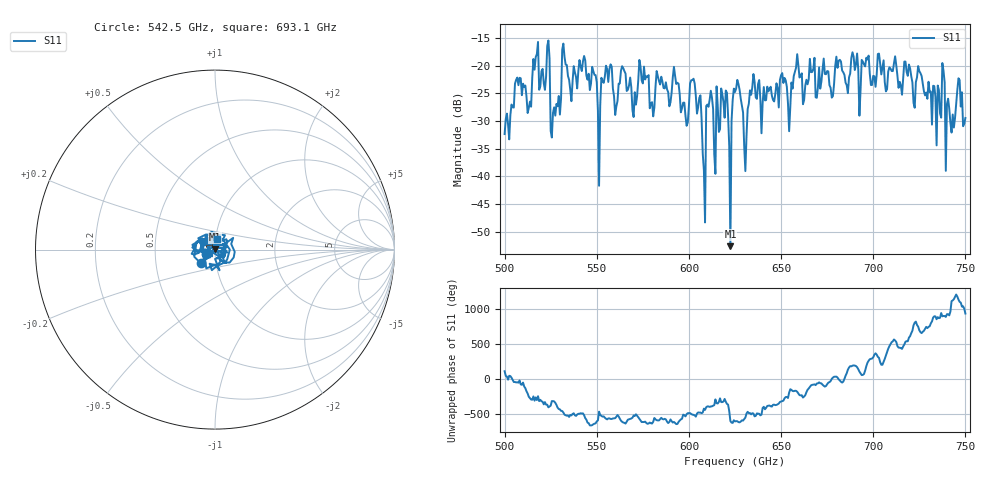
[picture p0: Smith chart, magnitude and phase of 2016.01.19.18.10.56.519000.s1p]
!Created with skrf (http://scikit-rf.org).
# GHz S RI R 50.0
!freq ReS11 ImS11
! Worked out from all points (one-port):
!   401 points, 500 GHz to 750 GHz, reference 50 ohm
!   lowest |S11| = -52.6 dB at 622.5 GHz (marker M1), VSWR 1.00, Z = 49.9 + j0.213 ohm
!   |S11| at or under -10 dB: start of sweep to end of sweep
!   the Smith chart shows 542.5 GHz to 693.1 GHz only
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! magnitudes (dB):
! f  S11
! 500 GHz  -32.4
! 507.5 GHz  -23.5
! 513.1 GHz  -27.6
! 516.9 GHz  -18.5
! 523.1 GHz  -16.5
! 526.2 GHz  -28.5
! 531.2 GHz  -17.1
! 548.8 GHz  -21.7
! 551.2 GHz  -41.7
! 554.4 GHz  -22.0
! 562.5 GHz  -23.2
! 593.8 GHz  -23.1
! 598.8 GHz  -30.9
! 602.5 GHz  -22.4
! 608.1 GHz  -38.9
! 610.6 GHz  -27.4
! 615 GHz  -23.7
! 619.4 GHz  -29.4
! 622.5 GHz  -52.6
! 625 GHz  -24.8
! 630.6 GHz  -39.1
! 634.4 GHz  -23.9
! 656.2 GHz  -24.2
! 687.5 GHz  -21.4
! 718.8 GHz  -21.8
! 743.1 GHz  -28.8
! 746.9 GHz  -22.6
! 750 GHz  -29.5
